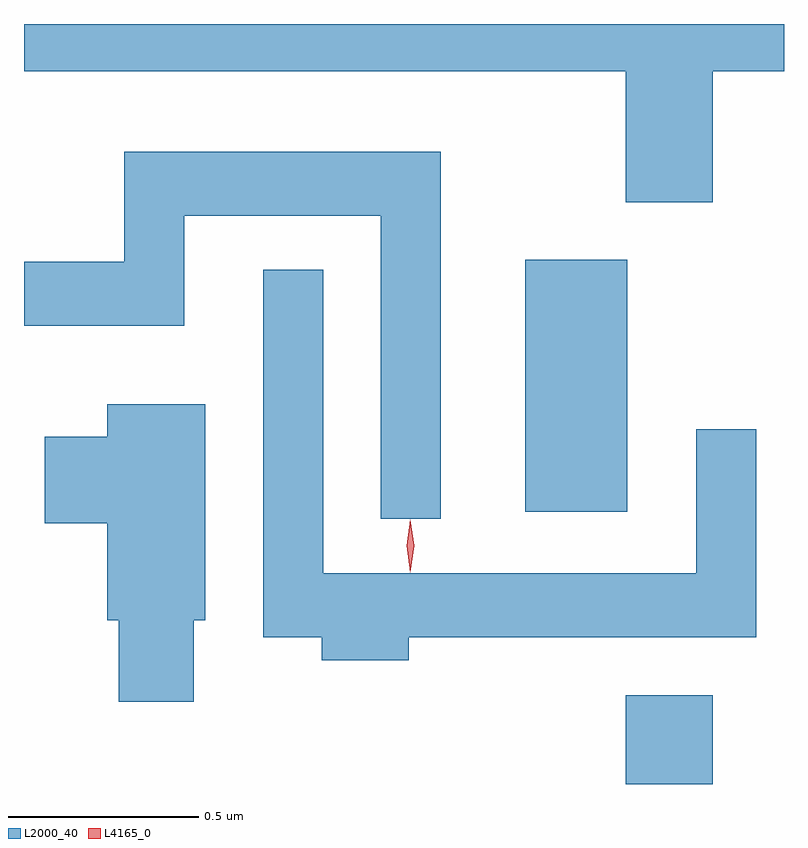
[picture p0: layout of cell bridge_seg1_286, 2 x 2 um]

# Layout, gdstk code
import gdstk
lib = gdstk.Library(unit=1e-6, precision=1e-09)
def R(c, l, rs):  # rectangles x0, y0, x1, y1
    for r in rs: c.add(gdstk.rectangle(r[:2], r[2:], *l))
def P(c, l, *ps):  # polygons
    for p in ps: c.add(gdstk.Polygon(p, *l))
L2000_40 = (2000, 40)
L4165_0 = (4165, 0)

bridge_seg1_286 = lib.new_cell('bridge_seg1_286')
R(bridge_seg1_286, L2000_40, [(875.971,891.04,876.199,891.274), (875.706,891.756,875.974,892.419)])
P(bridge_seg1_286, L2000_40, [(874.387,892.916),(875.971,892.916),(875.971,892.571),(876.199,892.571),(876.199,892.916),(876.387,892.916),(876.387,893.04),(874.387,893.04)],
  [(875.484,892.704),(874.651,892.704),(874.651,892.414),(874.387,892.414),(874.387,892.246),(874.809,892.246),(874.809,892.536),(875.326,892.536),(875.326,891.738),(875.484,891.738)],
  [(875.399,891.426),(876.314,891.426),(876.314,891.973),(876.156,891.973),(876.156,891.594),(875.174,891.594),(875.174,892.393),(875.016,892.393),(875.016,891.426),(875.171,891.426),(875.171,891.366),(875.399,891.366)],
  [(874.834,891.471),(874.864,891.471),(874.864,892.039),(874.606,892.039),(874.606,891.954),(874.441,891.954),(874.441,891.726),(874.606,891.726),(874.606,891.471),(874.636,891.471),(874.636,891.256),(874.834,891.256)])
P(bridge_seg1_286, L4165_0, [(875.403,891.597),(875.394,891.667),(875.403,891.736),(875.404,891.736),(875.404,891.736),(875.414,891.667),(875.404,891.597),(875.404,891.597)])

lib.write_gds('bridge_seg1_286.gds')
